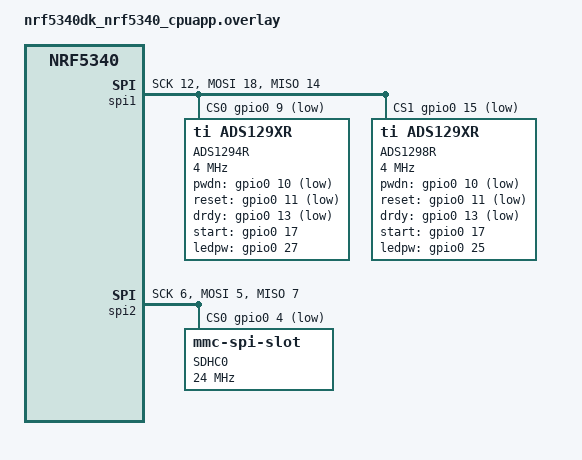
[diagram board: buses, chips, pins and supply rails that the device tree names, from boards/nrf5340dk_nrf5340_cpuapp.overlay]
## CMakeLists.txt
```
# SPDX-License-Identifier: Apache-2.0

cmake_minimum_required(VERSION 3.20.0)
# cmake_minimum_required(VERSION 3.17)

# list(APPEND DTS_ROOT ${CMAKE_SOURCE_DIR})

list(APPEND ZEPHYR_EXTRA_MODULES
  ${CMAKE_CURRENT_SOURCE_DIR}/drivers
)

find_package(Zephyr REQUIRED HINTS $ENV{ZEPHYR_BASE})
project(hello_world)

target_sources(app PRIVATE 
  src/main.c
  fs_fat/fs_fat.c
  ble_service/ble_service.c
  ble_service/ble.c
)
# FILE(GLOB app_sources src/*.c)
# target_sources(app PRIVATE ${app_sources})

# include_directories(src)
zephyr_library_include_directories(.)
```

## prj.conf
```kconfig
CONFIG_SPI=y
CONFIG_SENSOR=y
CONFIG_ADS129XR=y

CONFIG_CONSOLE=y
CONFIG_RTT_CONSOLE=y
CONFIG_USE_SEGGER_RTT=y

# CONFIG_SERIAL=y
# CONFIG_UART_CONSOLE=n

CONFIG_PRINTK=y
CONFIG_LOG=y

CONFIG_DISK_ACCESS=y
CONFIG_DISK_DRIVER_SDMMC=y
CONFIG_FILE_SYSTEM=y
CONFIG_FAT_FILESYSTEM_ELM=y
CONFIG_MAIN_STACK_SIZE=2048

CONFIG_BT=y
CONFIG_BT_PERIPHERAL=y
CONFIG_BT_DEVICE_NAME="Scott241113"
# CONFIG_BT_HCI=y
# CONFIG_BT_DEBUG_LOG=y
# CONFIG_BT_MAX_CONN=1
# CONFIG_BT_L2CAP_TX_BUF_COUNT=5
# CONFIG_BT_DEVICE_APPEARANCE=962

# CONFIG_HEAP_MEM_POOL_SIZE=2048

# CONFIG_SYSTEM_WORKQUEUE_STACK_SIZE=2048
```

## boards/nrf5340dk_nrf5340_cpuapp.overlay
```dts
&spi1 {

	compatible = "nordic,nrf-spim";
	status = "okay";

	sck-pin = < 12 >;
	miso-pin = < 14 >;
	mosi-pin = < 18 >;
	cs-gpios = < &gpio0 9 GPIO_ACTIVE_LOW >, < &gpio0 15 GPIO_ACTIVE_LOW >;

	ads1294r: ads129xr@0 {
		compatible = "ti,ads129xr";
		label = "ADS1294R";
		reg = <0>;
		status = "okay";
		spi-max-frequency = <4000000>;

		pwdn-gpios = < &gpio0 10 GPIO_ACTIVE_LOW >;
		reset-gpios = < &gpio0 11 GPIO_ACTIVE_LOW >;
		drdy-gpios = < &gpio0 13 GPIO_ACTIVE_LOW >;
		start-gpios = < &gpio0 17 GPIO_ACTIVE_HIGH >;
		ledpw-gpios = < &gpio0 27 GPIO_ACTIVE_HIGH >;
	};

	ads1298r: ads129xr@1 {
		compatible = "ti,ads129xr";
		label = "ADS1298R";
		reg = <1>;
		status = "okay";
		spi-max-frequency = <4000000>;

		pwdn-gpios = < &gpio0 10 GPIO_ACTIVE_LOW >;
		reset-gpios = < &gpio0 11 GPIO_ACTIVE_LOW >;
		drdy-gpios = < &gpio0 13 GPIO_ACTIVE_LOW >;
		start-gpios = < &gpio0 17 GPIO_ACTIVE_HIGH >;
		ledpw-gpios = < &gpio0 25 GPIO_ACTIVE_HIGH >;
	};
};

&spi2 {
	status = "okay"; 
	compatible = "nordic,nrf-spim";

	miso-pin = <7>;
	sck-pin = <6>;
	mosi-pin = <5>;
	cs-gpios = <&gpio0 4 GPIO_ACTIVE_LOW>;
	
	sdhc0: sdhc@0 {
		compatible = "zephyr,mmc-spi-slot";
		reg = <0>;
		status = "okay";
		label = "SDHC0";
		spi-max-frequency = <24000000>;

		sdhc-gpios {
			compatible = "gpio-leds";
			sdpwr: gpio1 {
				gpios = <&gpio0 8 GPIO_ACTIVE_LOW>;
				label = "SD_PWR_GPIO";
			};
		};
	};

};
```

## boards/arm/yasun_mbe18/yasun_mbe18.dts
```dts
// Copyright (c) 2021 Nordic Semiconductor ASA
// SPDX-License-Identifier: Apache-2.0

/dts-v1/;
#include <nordic/nrf5340_cpuapp_qkaa.dtsi>

/ {
	model = "yasun mbe18";
	compatible = "yasun.net.cn,yasun-mbe18";

	chosen {
		zephyr,sram = &sram0;
		zephyr,flash = &flash0;
		zephyr,code-partition = &slot0_partition;
	};
};

&flash0 {
	partitions {
		compatible = "fixed-partitions";
		#address-cells = <1>;
		#size-cells = <1>;

		boot_partition: partition@0 {
			label = "mcuboot";
			reg = <0x0 0x10000>;
		};
		slot0_partition: partition@10000 {
			label = "image-0";
			reg = <0x10000 0x40000>;
		};
		slot0_ns_partition: partition@50000 {
			label = "image-0-nonsecure";
			reg = <0x50000 0x30000>;
		};
		slot1_partition: partition@80000 {
			label = "image-1";
			reg = <0x80000 0x40000>;
		};
		slot1_ns_partition: partition@c0000 {
			label = "image-1-nonsecure";
			reg = <0xc0000 0x30000>;
		};
		scratch_partition: partition@f0000 {
			label = "image-scratch";
			reg = <0xf0000 0xa000>;
		};
		storage_partition: partition@fa000 {
			label = "storage";
			reg = <0xfa000 0x6000>;
		};
	};
};

&spi1 {
	status = "okay"; 
	compatible = "nordic,nrf-spim";

	miso-pin = <7>;
	sck-pin = <6>;
	mosi-pin = <5>;
	cs-gpios = <&gpio0 4 GPIO_ACTIVE_LOW>;
	
	sdhc0: sdhc@0 {
		compatible = "zephyr,mmc-spi-slot";
		reg = <0>;
		status = "okay";
		label = "SDHC0";
		spi-max-frequency = <24000000>;

		sdhc-gpios {
			compatible = "gpio-leds";
			sdpwr: gpio1 {
				gpios = <&gpio0 8 GPIO_ACTIVE_LOW>;
				label = "SD_PWR_GPIO";
			};
		};
	};

};

&spi2 {

	compatible = "nordic,nrf-spim";
	status = "okay";

	sck-pin = < 12 >;
	miso-pin = < 14 >;
	mosi-pin = < 18 >;
	cs-gpios = < &gpio0 9 GPIO_ACTIVE_LOW >, < &gpio0 15 GPIO_ACTIVE_LOW >;

	ads1294r: ads129xr@0 {
		compatible = "ti,ads129xr";
		label = "ADS1294R";
		reg = <0>;
		status = "okay";
		spi-max-frequency = <4000000>;

		pwdn-gpios = < &gpio0 10 GPIO_ACTIVE_LOW >;
		reset-gpios = < &gpio0 11 GPIO_ACTIVE_LOW >;
		drdy-gpios = < &gpio0 13 GPIO_ACTIVE_LOW >;
		start-gpios = < &gpio0 17 GPIO_ACTIVE_HIGH >;
		ledpw-gpios = < &gpio0 27 GPIO_ACTIVE_HIGH >;
	};

	ads1298r: ads129xr@1 {
		compatible = "ti,ads129xr";
		label = "ADS1298R";
		reg = <1>;
		status = "okay";
		spi-max-frequency = <4000000>;

		pwdn-gpios = < &gpio0 10 GPIO_ACTIVE_LOW >;
		reset-gpios = < &gpio0 11 GPIO_ACTIVE_LOW >;
		drdy-gpios = < &gpio0 13 GPIO_ACTIVE_LOW >;
		start-gpios = < &gpio0 17 GPIO_ACTIVE_HIGH >;
		ledpw-gpios = < &gpio0 25 GPIO_ACTIVE_HIGH >;
	};
};
```

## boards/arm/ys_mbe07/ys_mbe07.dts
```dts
// Copyright (c) 2021 Nordic Semiconductor ASA
// SPDX-License-Identifier: Apache-2.0

/dts-v1/;
#include <nordic/nrf52832_qfaa.dtsi>

/ {
	model = "ys_mbe07";
	compatible = "yasuntech,ys-mbe07";

	chosen {
		zephyr,sram = &sram0;
		zephyr,flash = &flash0;
		zephyr,code-partition = &slot0_partition;
	};
};

&flash0 {
	partitions {
		compatible = "fixed-partitions";
		#address-cells = <1>;
		#size-cells = <1>;

		boot_partition: partition@0 {
			label = "mcuboot";
			reg = <0x0 0xc000>;
		};
		slot0_partition: partition@c000 {
			label = "image-0";
			reg = <0xc000 0x32000>;
		};
		slot1_partition: partition@3e000 {
			label = "image-1";
			reg = <0x3e000 0x32000>;
		};
		scratch_partition: partition@70000 {
			label = "image-scratch";
			reg = <0x70000 0xa000>;
		};
		storage_partition: partition@7a000 {
			label = "storage";
			reg = <0x7a000 0x6000>;
		};
	};
};
```

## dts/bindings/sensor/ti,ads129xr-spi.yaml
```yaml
# Copyright (c) 2018 Analog Devices Inc.
# Copyright (c) 2018 Nordic Semiconductor ASA
# SPDX-License-Identifier: Apache-2.0

description: TI ads129xr ECG sensor, accessed through SPI bus

compatible: "ti,ads129xr"

include: spi-device.yaml

properties:
    start-gpios:
      type: phandle-array
      required: true
      description: |
        The Start signal defaults to active high as produced by the
        sensor.  The property value should ensure the flags properly
        describe the signal that is presented to the driver.

    pwdn-gpios:
      type: phandle-array
      required: true
      description: |
        The PWDN signal defaults to active high as produced by the
        sensor.  The property value should ensure the flags properly
        describe the signal that is presented to the driver.

    reset-gpios:
      type: phandle-array
      required: true
      description: |
        The RESET signal defaults to active high as produced by the
        sensor.  The property value should ensure the flags properly
        describe the signal that is presented to the driver.

    drdy-gpios:
      type: phandle-array
      required: true
      description: |
        The DRDY signal defaults to active high as produced by the
        sensor.  The property value should ensure the flags properly
        describe the signal that is presented to the driver.
    
    ledpw-gpios:
      type: phandle-array
      required: true
      description: |
        The DRDY signal defaults to active high as produced by the
        sensor.  The property value should ensure the flags properly
        describe the signal that is presented to the driver.

on-bus: spi
```

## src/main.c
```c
/*
 * Copyright (c) 2012-2014 Wind River Systems, Inc.
 *
 * SPDX-License-Identifier: Apache-2.0
 */

#include <stdio.h>
#include <zephyr.h>
#include <sys/printk.h>
#include <drivers/sensor.h>
#include <logging/log.h>

#include "../fs_fat/fs_fat.h"
#include "../ble_service/ble.h"

LOG_MODULE_REGISTER(main);

#define ADS1298R DT_NODELABEL(ads1298r)
#define ADS1294R DT_NODELABEL(ads1294r)

struct sensor_value value_1298r[9], value_1294r[5];
// const struct device *dev = DEVICE_DT_GET_ANY(ti_ads129xr);
const struct device *ads1294r = DEVICE_DT_GET(ADS1294R);
const struct device *ads1298r = DEVICE_DT_GET(ADS1298R);

// SD card init and open file status, 0 - success
int sd_ok = -1; 


static void ads129xr_get_data(void){

	sensor_channel_get(ads1294r, SENSOR_CHAN_ALL, value_1294r);
	sensor_channel_get(ads1298r, SENSOR_CHAN_ALL, value_1298r);

	static int counter = 1; // conunt the times this func called
	counter++;

	// use decoded data
	int16_t buff[12] = {0x00, 0x00, 0x00, 0x00, 0x00, 0x00, 0x00, 0x00, 0x00, 0x00, 0x00, 0x00};

	for (size_t i = 1; i < 9; i++)
	{
		buff[i-1] = (int16_t)(sensor_value_to_double(&value_1298r[i])*1000);
	}

	for (size_t i = 1; i < 5; i++)
	{
		buff[7+i] = (int16_t)(sensor_value_to_double(&value_1294r[i])*1000);
	}

	LOG_INF("%d volt(µV) : %d %d %d %d %d %d %d %d %d %d %d %d", counter, 
		buff[0], buff[1], buff[2], buff[3], buff[4], buff[5], buff[6], buff[7], 
		buff[8], buff[9], buff[10], buff[11]);

	if(sd_ok == 0){
		save_data(buff, sizeof(buff), counter); // save ECG data as integer with µV unit when use decoded data
	};


	if(my_ble_connected) {
		// ble_send( (uint8_t *)buff, sizeof(buff) );
		// ** it seems only 20 bytes can be sent **
		static uint8_t buff2[20] = {0x00, 0x00, 0x00, 0x00, 0x00, 0x00, 0x00, 0x00, 0x00, 0x00, 0x00, 0x10,
			0x00, 0x00, 0x00, 0x00, 0x00, 0x00, 0x00, 0x00
		};
		ble_send( (uint8_t *)buff2, sizeof(buff2) );
		LOG_INF("size of buff: %d", sizeof(buff2));
	}
}

static void trigger_handler(const struct device *dev, struct sensor_trigger *trig)
{
	ads129xr_get_data();
	LOG_INF("Sensor trigger called.");

	//use raw data
	// uint8_t buff[24];
	// for (size_t i = 1; i < 9; i++)
	// {
	// 	buff[(i-1)*2] = (value_1298r[i].val1) >> 8;
	// 	buff[(i-1)*2 +1 ] = value_1298r[i].val1;
	// }

	// LOG_INF("%d: %02x %02x", counter, buff[0], buff[1]);

	// for (size_t i = 1; i < 5; i++)
	// {
	// 	buff[16 + (i-1)*2] = value_1294r[i].val1 >> 8;
	// 	buff[16 + (i-1)*2 + 1] = value_1294r[i].val1;
	// }
};



void main(void)
{
	LOG_INF("Hello World! %s\n", CONFIG_BOARD);
	sd_ok = fs_init();

	if (!device_is_ready(ads1294r)) {
		LOG_INF("Device %s is not ready", ads1294r->name);
		return;
	}
	if (!device_is_ready(ads1298r)) {
		LOG_INF("Device %s is not ready", ads1298r->name);
		return;
	}

	
	static struct sensor_trigger drdy_trigger = {
		.type = SENSOR_TRIG_DATA_READY,
		.chan = SENSOR_CHAN_ALL,
	};

	// two ads129xr share the same interupter pin, so only set on one of them
	int rc = sensor_trigger_set(ads1298r, &drdy_trigger, trigger_handler);

	if (rc != 0) {
		LOG_INF("Trigger set failed: %d", rc);
	}

	LOG_INF("Trigger set success.");

	ble_init();

	// k_cpu_idle();

	while (1) {
		// printk("Hello World! %s\n", CONFIG_BOARD);
		k_msleep(1000);

		ads129xr_get_data();
		LOG_INF("Get data in wile loop.");

		// static uint16_t buff[5] = {0x00, 0x11, 0x12, 0x13, 0x14};
		// ble_send((uint8_t *)buff, sizeof(buff));

		// static uint8_t counter = 0;
		// counter++;
		// buff[0] = counter;

		// LOG_INF("Counter in while: %d, sizeof buff: %d", counter, sizeof(buff));
	}
}
```

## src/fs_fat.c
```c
#include <zephyr.h>
#include <device.h>
#include <devicetree.h>
#include <drivers/gpio.h>

#include <storage/disk_access.h>
#include <logging/log.h>
#include <fs/fs.h>
#include <ff.h>

#include "fs_fat.h"

#define SDPWR_NODE 	DT_NODELABEL(sdpwr)
#define SDPWR_GPIO	DT_GPIO_LABEL(SDPWR_NODE, gpios)
#define PIN			DT_GPIO_PIN(SDPWR_NODE, gpios)
#define FLAGS		DT_GPIO_FLAGS(SDPWR_NODE, gpios)

LOG_MODULE_REGISTER(fs_fat);

static int lsdir(const char *path);

struct fs_file_t zfp;
char file_name[] = "/SD:/YSECG001.dat";
uint8_t max_file_order = 0;

int fs_init(void){

	static FATFS fat_fs;
	/* mounting info */
	static struct fs_mount_t mp = {
		.type = FS_FATFS,
		.fs_data = &fat_fs,
	};

	/*
	*  Note the fatfs library is able to mount only strings inside _VOLUME_STRS
	*  in ffconf.h
	*/
	static const char *disk_mount_pt = "/SD:";
	mp.mnt_point = disk_mount_pt;

		/* raw disk i/o */
	do {

		const struct device *dev = device_get_binding(SDPWR_GPIO);
		if (gpio_pin_configure(dev, PIN, GPIO_OUTPUT_ACTIVE | FLAGS) < 0) 
		{
			LOG_ERR("SD power controller port config error.");
			break;
		}

		static const char *disk_pdrv = "SD";
		uint64_t memory_size_mb;
		uint32_t block_count;
		uint32_t block_size;

		if (disk_access_init(disk_pdrv) != 0) {
			LOG_ERR("Storage init ERROR!");
			break;
		}

		if (disk_access_ioctl(disk_pdrv,
			DISK_IOCTL_GET_SECTOR_COUNT, &block_count)) {
			LOG_ERR("Unable to get sector count");
			break;
		}
		LOG_INF("Block count %u", block_count);

		if (disk_access_ioctl(disk_pdrv,
			DISK_IOCTL_GET_SECTOR_SIZE, &block_size)) {
			LOG_ERR("Unable to get sector size");
			break;
		}
		printk("Sector size %u\n", block_size);

		memory_size_mb = (uint64_t)block_count * block_size;
		printk("Memory Size(MB) %u\n", (uint32_t)(memory_size_mb >> 20));

		if (fs_mount(&mp) == FR_OK) {
			printk("Disk mounted.\n");
			lsdir(disk_mount_pt);
		} else {
			printk("Error mounting disk.\n");
			break;
		}

		max_file_order += 1;
		file_name[10] = max_file_order % 1000 / 100 + '0';
		file_name[11] = max_file_order % 100 / 10 + '0';
		file_name[12] = max_file_order % 10 + '0';
		printk("New file name: %s", file_name);
		fs_unlink(file_name);	// delete the file if it exist.
		
		fs_file_t_init(&zfp);
		int result = fs_open(&zfp, file_name, FS_O_CREATE | FS_O_RDWR | FS_O_APPEND);
		LOG_INF("Creat and open fileresult: %d\n", result);

		k_msleep(10000);
		return result; // fs init success.

	} while (0);

	return -1; // fs init fail.
};

static int lsdir(const char *path)
{
	int res;
	struct fs_dir_t dirp;
	static struct fs_dirent entry;

	fs_dir_t_init(&dirp);

	/* Verify fs_opendir() */
	res = fs_opendir(&dirp, path);
	if (res) {
		LOG_ERR("Error opening dir %s [%d]", path, res);
		return res;
	}

	LOG_INF("\nListing dir %s ...", path);
	for (;;) {
		/* Verify fs_readdir() */
		res = fs_readdir(&dirp, &entry);

		/* entry.name[0] == 0 means end-of-dir */
		if (res || entry.name[0] == 0) {
			break;
		}

		if (entry.type == FS_DIR_ENTRY_DIR) {
			printk("[DIR ] %s\n", entry.name);
		} else {
			printk("[FILE] %s (size = %zu)",
				entry.name, entry.size);
			
			uint8_t file_order = 0;
			for (size_t i = 5; i < sizeof(entry.name)-4; i++) // file name will be YSECGXXX.dat
			{
				if(entry.name[i] >= '0' && entry.name[i] <= '9'){
					file_order = file_order * 10 + (entry.name[i] - '0'); // ASCII('0') => 48
				}
			}

			max_file_order = file_order > max_file_order ? file_order : max_file_order;
			LOG_INF("File order: %d, max file order %d", file_order, max_file_order);
		}
	}

	/* Verify fs_closedir() */
	fs_closedir(&dirp);

	return res;
};

//save ECG data as mV unit
void save_data(int16_t data[], uint8_t length, uint64_t counter)
{
	int result = fs_write(&zfp, &data, length);
	LOG_INF("Bytes write: %d", result);

	// sync to disk every second
	if (counter % 250 == 0)
	{
		LOG_INF("File Sync begin ...");
		int result = fs_sync(&zfp);
		LOG_INF("File Sync result: %d", result);
	};
};


void close_file(void)
{
	int result = fs_close(&zfp);
	LOG_INF("File Close result: %d", result);
};
```

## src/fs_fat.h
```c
void fs_test(void);
```
